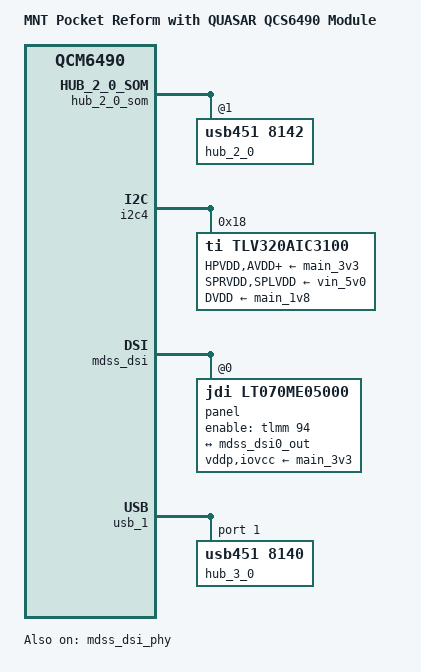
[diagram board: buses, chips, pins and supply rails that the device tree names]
// SPDX-License-Identifier: BSD-3-Clause
/*
 * Copyright (c) 2026, Linaro Ltd.
 * Copyright (c) 2026, MNT Research GmbH
 */

#include <dt-bindings/gpio/gpio.h>

#include "qcs6490-mnt-quasar.dtsi"

/*
# USB layout

## usb_1

HS -> syscon jumper
SS0 -> TUSB8041 (SS pins)
SS1 -> X (DP connector on Quasar)

## usb_2

HS -> TUSB8041 (HS pins)
No SS phy

*/

/ {
	model = "MNT Pocket Reform with QUASAR QCS6490 Module";
	compatible = "mntre,pocket-reform-qcs6490", "mntre,quasar-qcs6490", "qcom,qcm6490";
	chassis-type = "laptop";
};

/*
 * The HS pins on the mainboard connector come from a hub
 * and connect to the HS pins on the TI TUSB8041
 */
&hub_2_0_som {
	#address-cells = <1>;
	#size-cells = <0>;
	/* TI TUSB8041 high-speed */
	hub_2_0: hub@1 {
		compatible = "usb451,8142";
		reg = <1>;
		peer-hub = <&hub_3_0>;

		// reset-gpios = <&tlmm 0 GPIO_ACTIVE_LOW>;
	};
};

&i2c4 {
	tlv320aic3100: codec@18 {
		compatible = "ti,tlv320aic3100";
		reg = <0x18>;
		ai31xx-micbias-vg = <2>;
		#sound-dai-cells = <0>;

		HPVDD-supply = <&main_3v3>;
		SPRVDD-supply = <&vin_5v0>;
		SPLVDD-supply = <&vin_5v0>;
		AVDD-supply = <&main_3v3>;
		IOVDD-supply = <&main_3v3>;
		DVDD-supply = <&main_1v8>;

		status = "okay";
	};
};

&mnt_sc {
	backlight: backlight {
		status = "okay";
	};
};

&mdss_dsi {
	#address-cells = <1>;
	#size-cells = <0>;

	vdda-supply = <&vreg_l6b_1p2>;
	status = "okay";

	panel@0 {
		compatible = "jdi,lt070me05000";
		reg = <0>;

		/* CHECK: not sure if DSI controller is alive in .prepare on qcom */
		//init-in-enable;

		/* Reset and dcdc_en are wired to syscon */
		// reset-gpios = <&mnt_sc GPIO_DISP_RESET GPIO_ACTIVE_LOW>;
		/* Actually backlight enable */
		enable-gpios = <&tlmm 94 GPIO_ACTIVE_HIGH>;
		/* Stub supplies so driver will load */
		vddp-supply = <&main_3v3>;
		iovcc-supply = <&main_3v3>;

		pinctrl-0 = <&mdp_vsync>;
		pinctrl-names = "default";

		port {
			panel_in: endpoint {
				remote-endpoint = <&mdss_dsi0_out>;
			};
		};
	};
};

&mdss_dsi0_out {
	data-lanes = <0 1 2 3>;
	remote-endpoint = <&panel_in>;
};

&mdss_dsi_phy {
	vdds-supply = <&vreg_l10c_0p88>;
	status = "okay";
};

&sound {
	model = "QCS6490-MNT-Pocket";
};

&sound_primary_codec {
	sound-dai = <&tlv320aic3100>;
};

&tlmm {
	mdp_vsync: mdp-vsync-state {
		pins = "gpio80";
		function = "mdp_vsync";
		drive-strength = <2>;
		bias-pull-down;
	};
};

&usb_1 {
	#address-cells = <1>;
	#size-cells = <0>;

	/* TI TUSB8041 super-speed */
	hub_3_0: hub@1 {
		compatible = "usb451,8140";
		reg = <1>;
		peer-hub = <&hub_2_0>;

		// reset-gpios = <&tlmm 0 GPIO_ACTIVE_LOW>;
	};
};

/* FIXME: this port should connect to the hub somehow? */
// &usb_1_dwc3_hs {
// 	remote-endpoint = <&usb3_con_hs_in>;
// };
